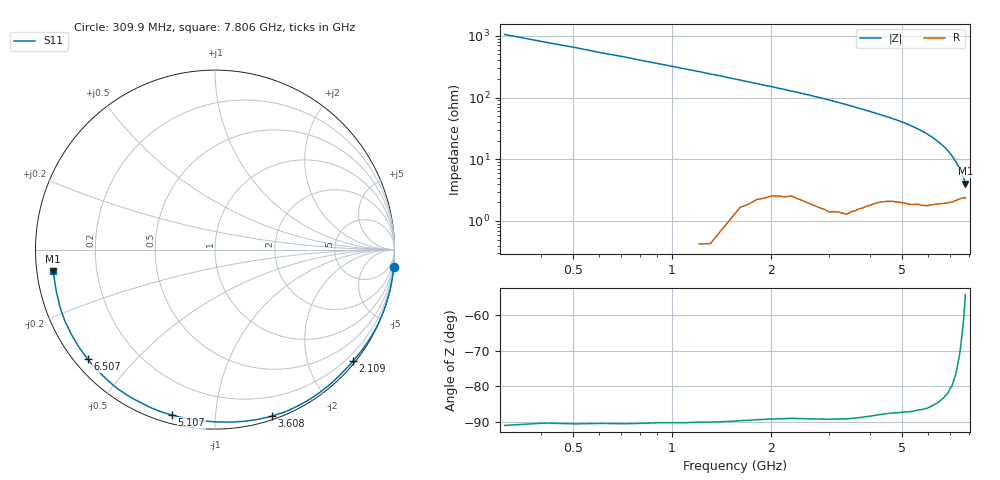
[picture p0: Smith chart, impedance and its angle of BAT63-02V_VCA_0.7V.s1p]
! Infineon Technologies  Discrete & RF Semiconductors
! BAT63-02V
! VCA = 0.7 V
! One-Port S-Parameters
# Hz  S  MA  R  50
!f  S11
!Hz  Mag  Ang
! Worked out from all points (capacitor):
!   76 points, 309.9 MHz to 7.806 GHz, reference 50 ohm
!   read as one part to ground: C = 488 fF near 309.9 MHz
!   lowest |Z| = 4.04 ohm at 7.806 GHz (marker M1)
!   S11 on the Smith chart (normalised r, x): 309.9 MHz: -0, -21; 2.109 GHz: 0.05, -2.83; 3.608 GHz: 0.03, -1.40; 5.107 GHz: 0.04, -0.77; 6.507 GHz: 0.04, -0.37; 7.806 GHz: 0.05, -0.07
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3.0985e8  1.001 -5.4
8.096e8  1.001 -14.3
1.30935e9  0.9993 -23.4
1.6092e9  0.9959 -29.0
1.90905e9  0.9915 -35.0
2.009e9  0.9899 -36.7
2.10895e9  0.9888 -38.9
2.2089e9  0.9882 -40.7
2.6087e9  0.9869 -48.8
2.8086e9  0.987 -53.1
3.2084e9  0.9853 -61.9
3.4083e9  0.9847 -66.5
3.6082e9  0.9804 -71.1
3.8081e9  0.9758 -75.7
4.10795e9  0.9675 -82.5
4.50775e9  0.9584 -91.2
5.0075e9  0.9533 -102.3
5.10745e9  0.9522 -104.6
5.4073e9  0.9506 -111.8
5.6072e9  0.9474 -116.6
5.8071e9  0.9468 -121.5
6.007e9  0.9449 -126.5
6.30685e9  0.9388 -134.3
6.50675e9  0.9355 -139.4
6.90655e9  0.9295 -149.5
7.10645e9  0.9262 -154.7
7.30635e9  0.921 -160.0
7.8061e9  0.9106 -172.5
